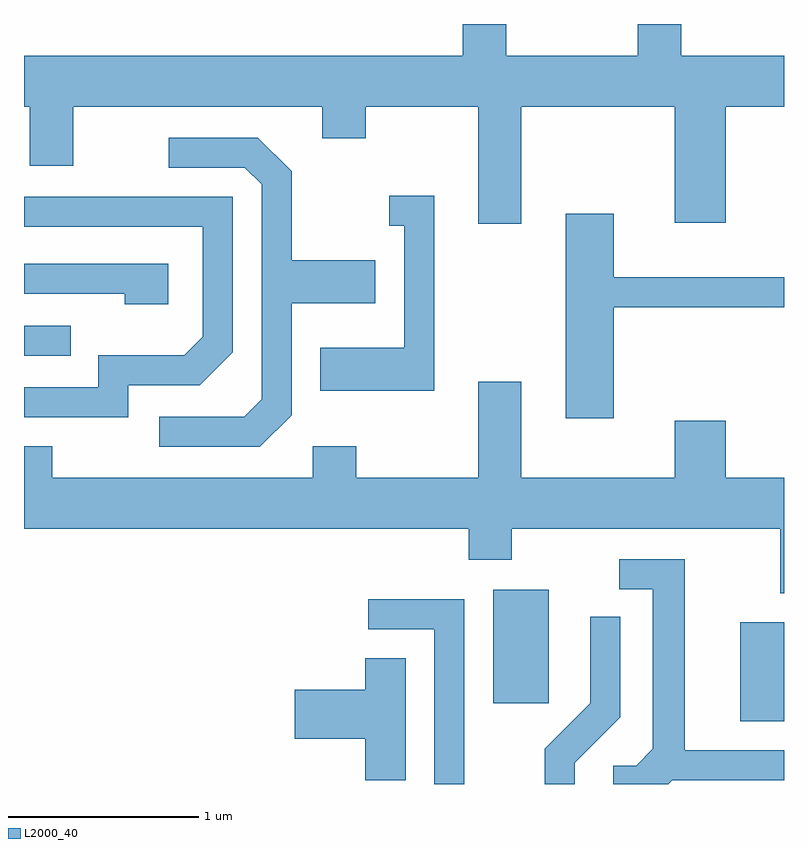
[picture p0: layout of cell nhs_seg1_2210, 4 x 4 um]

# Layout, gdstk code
import gdstk
lib = gdstk.Library(unit=1e-6, precision=1e-09)
def R(c, l, rs):  # rectangles x0, y0, x1, y1
    for r in rs: c.add(gdstk.rectangle(r[:2], r[2:], *l))
def P(c, l, *ps):  # polygons
    for p in ps: c.add(gdstk.Polygon(p, *l))
L2000_40 = (2000, 40)

nhs_seg1_2210 = lib.new_cell('nhs_seg1_2210')
R(nhs_seg1_2210, L2000_40, [(255.381,974.041,255.611,974.564), (254.081,974.136,254.374,974.734), (251.611,975.966,251.858,976.124)])
P(nhs_seg1_2210, L2000_40, [(254.229,977.276),(255.036,977.276),(255.036,976.666),(255.304,976.666),(255.304,977.276),(255.611,977.276),(255.611,977.544),(255.069,977.544),(255.069,977.712),(254.841,977.712),(254.841,977.544),(254.149,977.544),(254.149,977.712),(253.921,977.712),(253.921,977.544),(251.611,977.544),(251.611,977.276),(251.641,977.276),(251.641,976.966),(251.869,976.966),(251.869,977.276),(253.181,977.276),(253.181,977.111),(253.409,977.111),(253.409,977.276),(254.001,977.276),(254.001,976.661),(254.229,976.661)],
  [(253.019,975.654),(253.019,976.241),(253.459,976.241),(253.459,976.469),(253.019,976.469),(253.019,976.937),(252.842,977.114),(252.373,977.114),(252.373,976.956),(252.774,976.956),(252.861,976.869),(252.861,975.737),(252.769,975.644),(252.323,975.644),(252.323,975.486),(252.852,975.486)],
  [(253.769,976.809),(253.533,976.809),(253.533,976.651),(253.611,976.651),(253.611,976.009),(253.171,976.009),(253.171,975.781),(253.769,975.781)],
  [(252.159,975.811),(252.537,975.811),(252.709,975.984),(252.709,976.804),(251.611,976.804),(251.611,976.646),(252.551,976.646),(252.551,976.067),(252.454,975.969),(252.001,975.969),(252.001,975.799),(251.611,975.799),(251.611,975.641),(252.159,975.641)],
  [(254.714,976.221),(255.611,976.221),(255.611,976.379),(254.714,976.379),(254.714,976.714),(254.461,976.714),(254.461,975.636),(254.714,975.636)],
  [(252.369,976.449),(251.611,976.449),(251.611,976.291),(252.141,976.291),(252.141,976.236),(252.369,976.236)],
  [(253.951,974.891),(254.179,974.891),(254.179,975.056),(255.591,975.056),(255.591,974.716),(255.611,974.716),(255.611,975.324),(255.304,975.324),(255.304,975.624),(255.036,975.624),(255.036,975.324),(254.229,975.324),(254.229,975.829),(254.001,975.829),(254.001,975.324),(253.359,975.324),(253.359,975.489),(253.131,975.489),(253.131,975.324),(251.759,975.324),(251.759,975.489),(251.611,975.489),(251.611,975.056),(253.951,975.056)],
  [(255.022,973.731),(255.611,973.731),(255.611,973.889),(255.089,973.889),(255.089,974.894),(254.743,974.894),(254.743,974.736),(254.921,974.736),(254.921,973.897),(254.834,973.809),(254.713,973.809),(254.713,973.712),(255.003,973.712)],
  [(253.929,974.684),(253.423,974.684),(253.423,974.526),(253.771,974.526),(253.771,973.712),(253.929,973.712)],
  [(254.509,973.824),(254.749,974.064),(254.749,974.593),(254.591,974.593),(254.591,974.137),(254.351,973.897),(254.351,973.712),(254.509,973.712)],
  [(253.619,974.374),(253.406,974.374),(253.406,974.209),(253.036,974.209),(253.036,973.951),(253.406,973.951),(253.406,973.731),(253.619,973.731)])

lib.write_gds('nhs_seg1_2210.gds')
